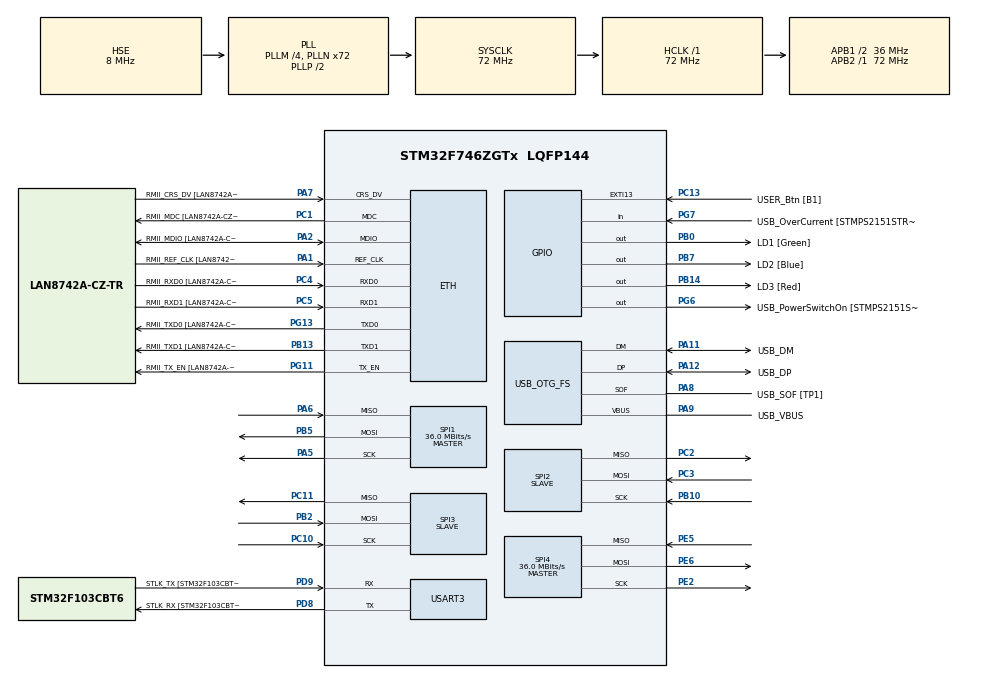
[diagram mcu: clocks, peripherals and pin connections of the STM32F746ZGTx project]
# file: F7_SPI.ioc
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ETH.MediaInterface=ETH_MEDIA_INTERFACE_RMII
ETH.PHY_Name=LAN8742A_PHY_ADDRESS
ETH.PHY_Value=0
ETH.PhyAddress=0
Mcu.Family=STM32F7
Mcu.Name=STM32F746ZGTx
Mcu.Package=LQFP144
NVIC.PriorityGroup=NVIC_PRIORITYGROUP_4
NVIC.SPI2_IRQn=true\:0\:0\:false\:false\:true\:true\:true
NVIC.SPI3_IRQn=true\:0\:0\:false\:false\:true\:true\:true
NVIC.SPI4_IRQn=true\:0\:0\:false\:false\:true\:true\:true
PA1.GPIO_Label=RMII_REF_CLK [LAN8742A-CZ-TR_REFCLK0]
PA1.Mode=RMII
PA1.Signal=ETH_REF_CLK
PA10.GPIO_Label=USB_ID
PA10.Signal=USB_OTG_FS_ID
PA11.GPIO_Label=USB_DM
PA11.Mode=Device_Only
PA11.Signal=USB_OTG_FS_DM
PA12.GPIO_Label=USB_DP
PA12.Mode=Device_Only
PA12.Signal=USB_OTG_FS_DP
PA13.GPIO_Label=TMS
PA13.Mode=Serial_Wire
PA13.Signal=SYS_JTMS-SWDIO
PA14.GPIO_Label=TCK
PA14.Mode=Serial_Wire
PA14.Signal=SYS_JTCK-SWCLK
PA2.GPIO_Label=RMII_MDIO [LAN8742A-CZ-TR_MDIO]
PA2.Mode=RMII
PA2.Signal=ETH_MDIO
PA5.Mode=Full_Duplex_Master
PA5.Signal=SPI1_SCK
PA6.Mode=Full_Duplex_Master
PA6.Signal=SPI1_MISO
PA7.GPIO_Label=RMII_CRS_DV [LAN8742A-CZ-TR_CRS_DV]
PA7.Mode=RMII
PA7.Signal=ETH_CRS_DV
PA8.GPIO_Label=USB_SOF [TP1]
PA8.Mode=Activate_SOF_FS
PA8.Signal=USB_OTG_FS_SOF
PA9.GPIO_Label=USB_VBUS
PA9.Mode=Activate_VBUS
PA9.Signal=USB_OTG_FS_VBUS
PB0.GPIO_Label=LD1 [Green]
PB0.Signal=GPIO_Output
PB10.Mode=Full_Duplex_Slave
PB10.Signal=SPI2_SCK
PB13.GPIO_Label=RMII_TXD1 [LAN8742A-CZ-TR_TXD1]
PB13.Mode=RMII
PB13.Signal=ETH_TXD1
PB14.GPIO_Label=LD3 [Red]
PB14.Signal=GPIO_Output
PB2.Mode=Full_Duplex_Slave
PB2.Signal=SPI3_MOSI
PB3.GPIO_Label=SW0
PB3.Signal=SYS_JTDO-SWO
PB5.Mode=Full_Duplex_Master
PB5.Signal=SPI1_MOSI
PB7.GPIO_Label=LD2 [Blue]
PB7.Signal=GPIO_Output
PC1.GPIO_Label=RMII_MDC [LAN8742A-CZ-TR_MDC]
PC1.Mode=RMII
PC1.Signal=ETH_MDC
PC10.Mode=Full_Duplex_Slave
PC10.Signal=SPI3_SCK
PC11.Mode=Full_Duplex_Slave
PC11.Signal=SPI3_MISO
PC13.GPIO_Label=USER_Btn [B1]
PC13.Signal=GPXTI13
PC14/OSC32_IN.Mode=LSE-External-Oscillator
PC14/OSC32_IN.Signal=RCC_OSC32_IN
PC15/OSC32_OUT.Mode=LSE-External-Oscillator
PC15/OSC32_OUT.Signal=RCC_OSC32_OUT
PC2.Mode=Full_Duplex_Slave
PC2.Signal=SPI2_MISO
PC3.Mode=Full_Duplex_Slave
PC3.Signal=SPI2_MOSI
PC4.GPIO_Label=RMII_RXD0 [LAN8742A-CZ-TR_RXD0]
PC4.Mode=RMII
PC4.Signal=ETH_RXD0
PC5.GPIO_Label=RMII_RXD1 [LAN8742A-CZ-TR_RXD1]
PC5.Mode=RMII
PC5.Signal=ETH_RXD1
PD8.GPIO_Label=STLK_RX [STM32F103CBT6_PA3]
PD8.Mode=Asynchronous
PD8.Signal=USART3_TX
PD9.GPIO_Label=STLK_TX [STM32F103CBT6_PA2]
PD9.Mode=Asynchronous
PD9.Signal=USART3_RX
PE2.Mode=Full_Duplex_Master
PE2.Signal=SPI4_SCK
PE5.Mode=Full_Duplex_Master
PE5.Signal=SPI4_MISO
PE6.Mode=Full_Duplex_Master
PE6.Signal=SPI4_MOSI
PG11.GPIO_Label=RMII_TX_EN [LAN8742A-CZ-TR_TXEN]
PG11.Mode=RMII
PG11.Signal=ETH_TX_EN
PG13.GPIO_Label=RMII_TXD0 [LAN8742A-CZ-TR_TXD0]
PG13.Mode=RMII
PG13.Signal=ETH_TXD0
PG6.GPIO_Label=USB_PowerSwitchOn [STMPS2151STR_EN]
PG6.Signal=GPIO_Output
PG7.GPIO_Label=USB_OverCurrent [STMPS2151STR_FAULT]
PG7.Signal=GPIO_Input
PH0/OSC_IN.GPIO_Label=MCO [STM32F103CBT6_PA8]
PH0/OSC_IN.Mode=HSE-External-Clock-Source
PH0/OSC_IN.Signal=RCC_OSC_IN
PH1/OSC_OUT.Mode=HSE-External-Clock-Source
PH1/OSC_OUT.Signal=RCC_OSC_OUT
ProjectManager.HeapSize=0x200
ProjectManager.StackSize=0x400
ProjectManager.TargetToolchain=STM32CubeIDE
RCC.48MHZClocksFreq_Value=24000000
RCC.AHBFreq_Value=72000000
RCC.APB1CLKDivider=RCC_HCLK_DIV2
RCC.APB1Freq_Value=36000000
RCC.APB1TimFreq_Value=72000000
RCC.APB2Freq_Value=72000000
RCC.APB2TimFreq_Value=72000000
RCC.CortexFreq_Value=72000000
RCC.HCLKFreq_Value=72000000
RCC.HSE_VALUE=8000000
RCC.HSI_VALUE=16000000
RCC.PLLM=4
RCC.PLLMUL=RCC_PLL_MUL9
RCC.PLLN=72
RCC.PLLQ=3
RCC.PRESCALERUSB=RCC_USBCLKSOURCE_PLL_DIV1_5
RCC.SYSCLKFreq_VALUE=72000000
RCC.SYSCLKSource=RCC_SYSCLKSOURCE_PLLCLK
RCC.SYSCLKSourceVirtual=RCC_SYSCLKSOURCE_PLLCLK
RCC.USBFreq_Value=48000000
RCC.VCOOutputFreq_Value=144000000
SPI1.CalculateBaudRate=36.0 MBits/s
SPI1.Direction=SPI_DIRECTION_2LINES
SPI1.Mode=SPI_MODE_MASTER
SPI1.VirtualType=VM_MASTER
SPI2.Direction=SPI_DIRECTION_2LINES
SPI2.Mode=SPI_MODE_SLAVE
SPI2.VirtualType=VM_SLAVE
SPI3.Direction=SPI_DIRECTION_2LINES
SPI3.Mode=SPI_MODE_SLAVE
SPI3.VirtualType=VM_SLAVE
SPI4.CalculateBaudRate=36.0 MBits/s
SPI4.Direction=SPI_DIRECTION_2LINES
SPI4.Mode=SPI_MODE_MASTER
SPI4.VirtualType=VM_MASTER
USART3.VirtualMode-Asynchronous=VM_ASYNC
USB_OTG_FS.VirtualMode=Device_Only
board=NUCLEO-F746ZG

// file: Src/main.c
/* USER CODE BEGIN Header */
/**
  ******************************************************************************
  * @file           : main.c
  * @brief          : Main program body
  ******************************************************************************
  * @attention
  *
  * <h2><center>&copy; Copyright (c) 2020 STMicroelectronics.
  * All rights reserved.</center></h2>
  *
  * This software component is licensed by ST under BSD 3-Clause license,
  * the "License"; You may not use this file except in compliance with the
  * License. You may obtain a copy of the License at:
  *                        opensource.org/licenses/BSD-3-Clause
  *
  ******************************************************************************
  */
/* USER CODE END Header */

#include "main.h"

/* USER CODE BEGIN Includes */
#include <stdio.h>
/* USER CODE END Includes */

ETH_HandleTypeDef heth;

SPI_HandleTypeDef hspi1;
SPI_HandleTypeDef hspi2;
SPI_HandleTypeDef hspi3;
SPI_HandleTypeDef hspi4;

UART_HandleTypeDef huart3;

PCD_HandleTypeDef hpcd_USB_OTG_FS;

/* USER CODE BEGIN PV */
uint8_t data_recive[10]="";
uint8_t data_send[10]="12345;";

/* USER CODE END PV */

void SystemClock_Config(void);
static void MX_GPIO_Init(void);
static void MX_ETH_Init(void);
static void MX_SPI1_Init(void);
static void MX_SPI2_Init(void);
static void MX_USART3_UART_Init(void);
static void MX_USB_OTG_FS_PCD_Init(void);
static void MX_SPI3_Init(void);
static void MX_SPI4_Init(void);

/* USER CODE BEGIN 0 */

// for printf
#ifdef __GNUC__
/* With GCC/RAISONANCE, small printf (option LD Linker->Libraries->Small printf
 set to 'Yes') calls __io_putchar() */
#define PUTCHAR_PROTOTYPE int __io_putchar(int ch)
#else
#define PUTCHAR_PROTOTYPE int fputc(int ch, FILE *f)
#endif /* __GNUC__ */

/**
 * @brief Retargets the C library printf function to the USART.
 * @param None
 * @retval None
 */
PUTCHAR_PROTOTYPE
{
 /* Place your implementation of fputc here */
 /* e.g. write a character to the USART2 and Loop until the end of transmission */
 HAL_UART_Transmit(&huart3, (uint8_t *)&ch, 1, 0xFFFF);

return ch;
}
//===========================================================================

void HAL_SPI_RxCpltCallback(SPI_HandleTypeDef *hspi)
{
  /* Prevent unused argument(s) compilation warning */
  UNUSED(hspi);
  HAL_SPI_Receive_IT(&hspi3, data_recive, 1);
  /* NOTE : This function should not be modified, when the callback is needed,
            the HAL_SPI_RxCpltCallback should be implemented in the user file
   */
}

/* USER CODE END 0 */

int main(void)
{

  /* MCU Configuration--------------------------------------------------------*/

  /* Reset of all peripherals, Initializes the Flash interface and the Systick. */
  HAL_Init();

  /* Configure the system clock */
  SystemClock_Config();

  /* Initialize all configured peripherals */
  MX_GPIO_Init();
//  MX_ETH_Init();
  MX_SPI1_Init();
  MX_SPI2_Init();
  MX_USART3_UART_Init();
  MX_USB_OTG_FS_PCD_Init();
  MX_SPI3_Init();
  MX_SPI4_Init();
  /* USER CODE BEGIN 2 */

  /****************************************
   *
   * SPI1
   * PA5 SCK   (CN7)
   * PB5 MOSI
   * PA6 MISO
   *
   * SPI2
   * PB10 SCK (10)
   * PC2 MISO (10)
   * PC3 MOSI (CN9)
   *
   **********************************************/

  /* USER CODE END 2 */

  /* Infinite loop */
  /* USER CODE BEGIN WHILE */
   HAL_SPI_Receive_IT(&hspi3, data_recive, 1);

  while (1)
  {
  	  ++(data_send[0]);
	  data_send[0] %= 255;
	  HAL_SPI_Transmit(&hspi4, data_send, 1, 0xffff);
	  HAL_Delay(100);
	  printf("send %d receive spi2 %d\n\r",data_send[0],data_recive[0]);
	  HAL_Delay(1000);

    /* USER CODE END WHILE */

  }
}

void SystemClock_Config(void)
{
  RCC_OscInitTypeDef RCC_OscInitStruct = {0};
  RCC_ClkInitTypeDef RCC_ClkInitStruct = {0};
  RCC_PeriphCLKInitTypeDef PeriphClkInitStruct = {0};

  /** Configure LSE Drive Capability
  */
  HAL_PWR_EnableBkUpAccess();
  /** Configure the main internal regulator output voltage
  */
  __HAL_RCC_PWR_CLK_ENABLE();
  __HAL_PWR_VOLTAGESCALING_CONFIG(PWR_REGULATOR_VOLTAGE_SCALE3);
  /** Initializes the CPU, AHB and APB busses clocks
  */
  RCC_OscInitStruct.OscillatorType = RCC_OSCILLATORTYPE_HSE;
  RCC_OscInitStruct.HSEState = RCC_HSE_BYPASS;
  RCC_OscInitStruct.PLL.PLLState = RCC_PLL_ON;
  RCC_OscInitStruct.PLL.PLLSource = RCC_PLLSOURCE_HSE;
  RCC_OscInitStruct.PLL.PLLM = 4;
  RCC_OscInitStruct.PLL.PLLN = 72;
  RCC_OscInitStruct.PLL.PLLP = RCC_PLLP_DIV2;
  RCC_OscInitStruct.PLL.PLLQ = 3;
  if (HAL_RCC_OscConfig(&RCC_OscInitStruct) != HAL_OK)
  {
    Error_Handler();
  }
  /** Initializes the CPU, AHB and APB busses clocks
  */
  RCC_ClkInitStruct.ClockType = RCC_CLOCKTYPE_HCLK|RCC_CLOCKTYPE_SYSCLK
                              |RCC_CLOCKTYPE_PCLK1|RCC_CLOCKTYPE_PCLK2;
  RCC_ClkInitStruct.SYSCLKSource = RCC_SYSCLKSOURCE_PLLCLK;
  RCC_ClkInitStruct.AHBCLKDivider = RCC_SYSCLK_DIV1;
  RCC_ClkInitStruct.APB1CLKDivider = RCC_HCLK_DIV2;
  RCC_ClkInitStruct.APB2CLKDivider = RCC_HCLK_DIV1;

  if (HAL_RCC_ClockConfig(&RCC_ClkInitStruct, FLASH_LATENCY_2) != HAL_OK)
  {
    Error_Handler();
  }
  PeriphClkInitStruct.PeriphClockSelection = RCC_PERIPHCLK_USART3|RCC_PERIPHCLK_CLK48;
  PeriphClkInitStruct.Usart3ClockSelection = RCC_USART3CLKSOURCE_PCLK1;
  PeriphClkInitStruct.Clk48ClockSelection = RCC_CLK48SOURCE_PLL;
  if (HAL_RCCEx_PeriphCLKConfig(&PeriphClkInitStruct) != HAL_OK)
  {
    Error_Handler();
  }
}

static void MX_ETH_Init(void)
{

   uint8_t MACAddr[6] ;

  heth.Instance = ETH;
  heth.Init.AutoNegotiation = ETH_AUTONEGOTIATION_ENABLE;
  heth.Init.PhyAddress = LAN8742A_PHY_ADDRESS;
  MACAddr[0] = 0x00;
  MACAddr[1] = 0x80;
  MACAddr[2] = 0xE1;
  MACAddr[3] = 0x00;
  MACAddr[4] = 0x00;
  MACAddr[5] = 0x00;
  heth.Init.MACAddr = &MACAddr[0];
  heth.Init.RxMode = ETH_RXPOLLING_MODE;
  heth.Init.ChecksumMode = ETH_CHECKSUM_BY_HARDWARE;
  heth.Init.MediaInterface = ETH_MEDIA_INTERFACE_RMII;

  if (HAL_ETH_Init(&heth) != HAL_OK)
  {
    Error_Handler();
  }

}

static void MX_SPI1_Init(void)
{

  /* SPI1 parameter configuration*/
  hspi1.Instance = SPI1;
  hspi1.Init.Mode = SPI_MODE_MASTER;
  hspi1.Init.Direction = SPI_DIRECTION_2LINES;
  hspi1.Init.DataSize = SPI_DATASIZE_4BIT;
  hspi1.Init.CLKPolarity = SPI_POLARITY_LOW;
  hspi1.Init.CLKPhase = SPI_PHASE_1EDGE;
  hspi1.Init.NSS = SPI_NSS_SOFT;
  hspi1.Init.BaudRatePrescaler = SPI_BAUDRATEPRESCALER_2;
  hspi1.Init.FirstBit = SPI_FIRSTBIT_MSB;
  hspi1.Init.TIMode = SPI_TIMODE_DISABLE;
  hspi1.Init.CRCCalculation = SPI_CRCCALCULATION_DISABLE;
  hspi1.Init.CRCPolynomial = 7;
  hspi1.Init.CRCLength = SPI_CRC_LENGTH_DATASIZE;
  hspi1.Init.NSSPMode = SPI_NSS_PULSE_ENABLE;
  if (HAL_SPI_Init(&hspi1) != HAL_OK)
  {
    Error_Handler();
  }

}

static void MX_SPI2_Init(void)
{

  /* SPI2 parameter configuration*/
  hspi2.Instance = SPI2;
  hspi2.Init.Mode = SPI_MODE_SLAVE;
  hspi2.Init.Direction = SPI_DIRECTION_2LINES;
  hspi2.Init.DataSize = SPI_DATASIZE_4BIT;
  hspi2.Init.CLKPolarity = SPI_POLARITY_LOW;
  hspi2.Init.CLKPhase = SPI_PHASE_1EDGE;
  hspi2.Init.NSS = SPI_NSS_SOFT;
  hspi2.Init.FirstBit = SPI_FIRSTBIT_MSB;
  hspi2.Init.TIMode = SPI_TIMODE_DISABLE;
  hspi2.Init.CRCCalculation = SPI_CRCCALCULATION_DISABLE;
  hspi2.Init.CRCPolynomial = 7;
  hspi2.Init.CRCLength = SPI_CRC_LENGTH_DATASIZE;
  hspi2.Init.NSSPMode = SPI_NSS_PULSE_DISABLE;
  if (HAL_SPI_Init(&hspi2) != HAL_OK)
  {
    Error_Handler();
  }

}

static void MX_SPI3_Init(void)
{

  /* SPI3 parameter configuration*/
  hspi3.Instance = SPI3;
  hspi3.Init.Mode = SPI_MODE_SLAVE;
  hspi3.Init.Direction = SPI_DIRECTION_2LINES;
  hspi3.Init.DataSize = SPI_DATASIZE_4BIT;
  hspi3.Init.CLKPolarity = SPI_POLARITY_LOW;
  hspi3.Init.CLKPhase = SPI_PHASE_1EDGE;
  hspi3.Init.NSS = SPI_NSS_SOFT;
  hspi3.Init.FirstBit = SPI_FIRSTBIT_MSB;
  hspi3.Init.TIMode = SPI_TIMODE_DISABLE;
  hspi3.Init.CRCCalculation = SPI_CRCCALCULATION_DISABLE;
  hspi3.Init.CRCPolynomial = 7;
  hspi3.Init.CRCLength = SPI_CRC_LENGTH_DATASIZE;
  hspi3.Init.NSSPMode = SPI_NSS_PULSE_DISABLE;
  if (HAL_SPI_Init(&hspi3) != HAL_OK)
  {
    Error_Handler();
  }

}

static void MX_SPI4_Init(void)
{

  /* SPI4 parameter configuration*/
  hspi4.Instance = SPI4;
  hspi4.Init.Mode = SPI_MODE_MASTER;
  hspi4.Init.Direction = SPI_DIRECTION_2LINES;
  hspi4.Init.DataSize = SPI_DATASIZE_4BIT;
  hspi4.Init.CLKPolarity = SPI_POLARITY_LOW;
  hspi4.Init.CLKPhase = SPI_PHASE_1EDGE;
  hspi4.Init.NSS = SPI_NSS_SOFT;
  hspi4.Init.BaudRatePrescaler = SPI_BAUDRATEPRESCALER_2;
  hspi4.Init.FirstBit = SPI_FIRSTBIT_MSB;
  hspi4.Init.TIMode = SPI_TIMODE_DISABLE;
  hspi4.Init.CRCCalculation = SPI_CRCCALCULATION_DISABLE;
  hspi4.Init.CRCPolynomial = 7;
  hspi4.Init.CRCLength = SPI_CRC_LENGTH_DATASIZE;
  hspi4.Init.NSSPMode = SPI_NSS_PULSE_ENABLE;
  if (HAL_SPI_Init(&hspi4) != HAL_OK)
  {
    Error_Handler();
  }

}

static void MX_USART3_UART_Init(void)
{

  huart3.Instance = USART3;
  huart3.Init.BaudRate = 115200;
  huart3.Init.WordLength = UART_WORDLENGTH_8B;
  huart3.Init.StopBits = UART_STOPBITS_1;
  huart3.Init.Parity = UART_PARITY_NONE;
  huart3.Init.Mode = UART_MODE_TX_RX;
  huart3.Init.HwFlowCtl = UART_HWCONTROL_NONE;
  huart3.Init.OverSampling = UART_OVERSAMPLING_16;
  huart3.Init.OneBitSampling = UART_ONE_BIT_SAMPLE_DISABLE;
  huart3.AdvancedInit.AdvFeatureInit = UART_ADVFEATURE_NO_INIT;
  if (HAL_UART_Init(&huart3) != HAL_OK)
  {
    Error_Handler();
  }

}

static void MX_USB_OTG_FS_PCD_Init(void)
{

  hpcd_USB_OTG_FS.Instance = USB_OTG_FS;
  hpcd_USB_OTG_FS.Init.dev_endpoints = 6;
  hpcd_USB_OTG_FS.Init.speed = PCD_SPEED_FULL;
  hpcd_USB_OTG_FS.Init.dma_enable = DISABLE;
  hpcd_USB_OTG_FS.Init.phy_itface = PCD_PHY_EMBEDDED;
  hpcd_USB_OTG_FS.Init.Sof_enable = ENABLE;
  hpcd_USB_OTG_FS.Init.low_power_enable = DISABLE;
  hpcd_USB_OTG_FS.Init.lpm_enable = DISABLE;
  hpcd_USB_OTG_FS.Init.vbus_sensing_enable = ENABLE;
  hpcd_USB_OTG_FS.Init.use_dedicated_ep1 = DISABLE;
  if (HAL_PCD_Init(&hpcd_USB_OTG_FS) != HAL_OK)
  {
    Error_Handler();
  }

}

static void MX_GPIO_Init(void)
{
  GPIO_InitTypeDef GPIO_InitStruct = {0};

  /* GPIO Ports Clock Enable */
  __HAL_RCC_GPIOE_CLK_ENABLE();
  __HAL_RCC_GPIOC_CLK_ENABLE();
  __HAL_RCC_GPIOH_CLK_ENABLE();
  __HAL_RCC_GPIOA_CLK_ENABLE();
  __HAL_RCC_GPIOB_CLK_ENABLE();
  __HAL_RCC_GPIOD_CLK_ENABLE();
  __HAL_RCC_GPIOG_CLK_ENABLE();

  /*Configure GPIO pin Output Level */
  HAL_GPIO_WritePin(GPIOB, LD1_Pin|LD3_Pin|LD2_Pin, GPIO_PIN_RESET);

  /*Configure GPIO pin Output Level */
  HAL_GPIO_WritePin(USB_PowerSwitchOn_GPIO_Port, USB_PowerSwitchOn_Pin, GPIO_PIN_RESET);

  /*Configure GPIO pin : USER_Btn_Pin */
  GPIO_InitStruct.Pin = USER_Btn_Pin;
  GPIO_InitStruct.Mode = GPIO_MODE_IT_RISING;
  GPIO_InitStruct.Pull = GPIO_NOPULL;
  HAL_GPIO_Init(USER_Btn_GPIO_Port, &GPIO_InitStruct);

  /*Configure GPIO pins : LD1_Pin LD3_Pin LD2_Pin */
  GPIO_InitStruct.Pin = LD1_Pin|LD3_Pin|LD2_Pin;
  GPIO_InitStruct.Mode = GPIO_MODE_OUTPUT_PP;
  GPIO_InitStruct.Pull = GPIO_NOPULL;
  GPIO_InitStruct.Speed = GPIO_SPEED_FREQ_LOW;
  HAL_GPIO_Init(GPIOB, &GPIO_InitStruct);

  /*Configure GPIO pin : USB_PowerSwitchOn_Pin */
  GPIO_InitStruct.Pin = USB_PowerSwitchOn_Pin;
  GPIO_InitStruct.Mode = GPIO_MODE_OUTPUT_PP;
  GPIO_InitStruct.Pull = GPIO_NOPULL;
  GPIO_InitStruct.Speed = GPIO_SPEED_FREQ_LOW;
  HAL_GPIO_Init(USB_PowerSwitchOn_GPIO_Port, &GPIO_InitStruct);

  /*Configure GPIO pin : USB_OverCurrent_Pin */
  GPIO_InitStruct.Pin = USB_OverCurrent_Pin;
  GPIO_InitStruct.Mode = GPIO_MODE_INPUT;
  GPIO_InitStruct.Pull = GPIO_NOPULL;
  HAL_GPIO_Init(USB_OverCurrent_GPIO_Port, &GPIO_InitStruct);

}

void Error_Handler(void)
{
}

/************************ (C) COPYRIGHT STMicroelectronics *****END OF FILE****/
